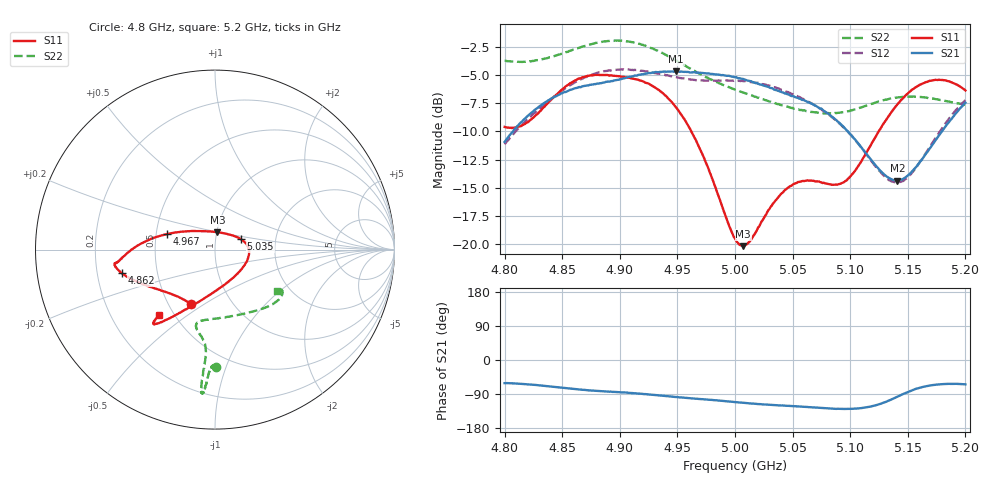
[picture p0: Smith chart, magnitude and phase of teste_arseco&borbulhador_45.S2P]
! Network Analyzer HP8722D
! Hewlett-Packard
! Data name: Linha & Wilkinson
! Saver's name: Rodrigo Anjos
! Comments: Teste da utilização de aquisição
! continua pelo VNA HP8722D
! Time and date: 15/4/2025 16:00
!  Frequency  S11  S21  S12  S22
# HZ  S  MA R 50
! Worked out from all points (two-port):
!   401 points, 4.8 GHz to 5.2 GHz, reference 50 ohm
!   highest |S21| = -4.63 dB at 4.949 GHz (marker M1); lowest = -14.4 dB at 5.141 GHz (marker M2)
!   |S21| within 3 dB of the highest: 4.832 GHz to 5.068 GHz (236.3 MHz wide, 4.77 % of centre); 5.198271 GHz to end of sweep
!   lowest |S11| = -20.2 dB at 5.007 GHz (marker M3), VSWR 1.22, Z = 50.4 + j9.82 ohm
!   |S11| at or under -10 dB: 4.962 GHz to 5.125 GHz (162.6 MHz wide, 3.22 % of centre)
!   |S22| runs from -8.4 to -1.9 dB; largest |S21 - S12| = 0.88
!   S11 on the Smith chart (normalised r, x): 4.8 GHz: 0.65, -0.44; 4.862 GHz: 0.31, -0.11; 4.967 GHz: 0.57, +0.11; 5.035 GHz: 1.33, +0.16; 5.2 GHz: 0.41, -0.39
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4.8e9  0.3313 -114.1  0.2842 -61.1  0.2771 -175.1  0.6546 -89.6
4.819e9  0.3456 -133.8  0.3662 -64.0  0.3547 -173.5  0.6488 -91.3
4.862e9  0.5359 -165.9  0.4937 -76.7  0.5265 -176.6  0.7409 -93.6
4.867e9  0.5496 -167.8  0.5017 -78.6  0.5418 -177.6  0.7549 -93.8
4.9e9  0.5571 -172.4  0.5405 -85.1  0.5965 175.7  0.8029 -95.2
4.934e9  0.4839 -178.2  0.5815 -93.6  0.5733 171.8  0.7178 -95.7
4.949e9  0.4035 174.6  0.587 -97.6  0.5528 172.1  0.6557 -95.4
4.967e9  0.2822 162.2  0.5788 -102.1  0.5347 173.9  0.5794 -95.1
5e9  0.1055 106.4  0.5519 -111.1  0.5343 176.3  0.4859 -99.3
5.007e9  0.0974 82.2  0.5422 -112.9  0.5302 176.2  0.472 -100.9
5.015e9  0.1062 57.3  0.5254 -115.0  0.524 175.9  0.457 -102.7
5.035e9  0.1553 22.0  0.4842 -119.2  0.4973 174.9  0.4224 -103.9
5.05e9  0.1829 6.4  0.4551 -121.7  0.4639 174.3  0.4029 -100.3
5.067e9  0.1907 -11.9  0.4201 -124.9  0.4206 173.8  0.3864 -91.7
5.086e9  0.183 -42.4  0.362 -128.6  0.3597 173.6  0.3813 -77.5
5.097e9  0.1915 -65.6  0.3196 -129.2  0.3193 174.3  0.3886 -68.4
5.134e9  0.374 -116.5  0.1954 -106.5  0.1914 -159.4  0.4423 -43.4
5.141e9  0.4176 -120.4  0.191 -96.7  0.1871 -148.4  0.4483 -40.3
5.153e9  0.4822 -125.3  0.208 -80.7  0.2049 -129.8  0.4521 -35.9
5.17e9  0.5328 -128.8  0.2693 -66.9  0.2747 -113.0  0.4445 -32.1
5.184e9  0.5313 -130.1  0.34 -63.2  0.351 -107.3  0.4313 -31.1
5.2e9  0.4818 -130.6  0.425 -64.3  0.4361 -106.2  0.4161 -33.4
